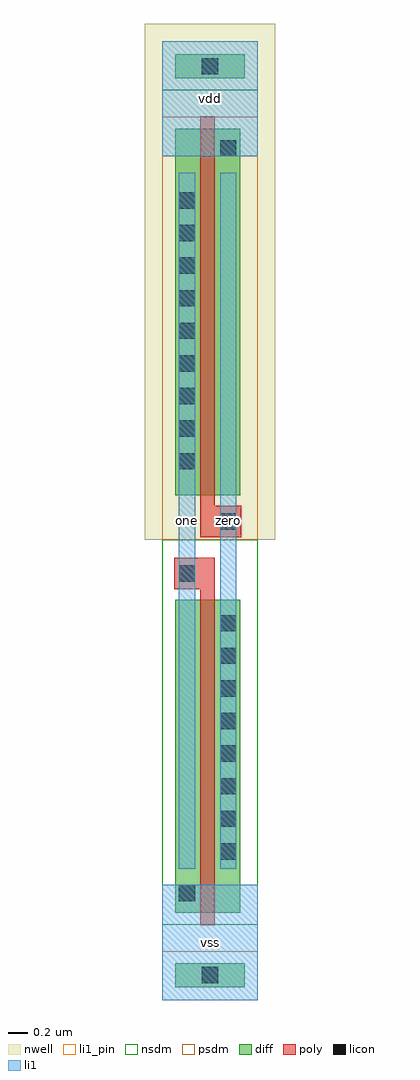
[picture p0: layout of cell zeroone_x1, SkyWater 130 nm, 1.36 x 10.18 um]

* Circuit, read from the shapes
.subckt zeroone_x1 one vdd vss zero
XM1 zero one vss VSUBS sky130_fd_pr__nfet_01v8 w=3.265 l=0.15
XM2 vdd zero one n1 sky130_fd_pr__pfet_01v8 w=3.825 l=0.15
.ends

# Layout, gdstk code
import gdstk
lib = gdstk.Library(unit=1e-6, precision=1e-09)
def R(c, l, rs):  # rectangles x0, y0, x1, y1
    for r in rs: c.add(gdstk.rectangle(r[:2], r[2:], *l))
def A(c, l, x, y, w, h, nx, ny, dx, dy):  # array of equal rectangles
    R(c, l, [(x+i*dx, y+j*dy, x+i*dx+w, y+j*dy+h) for i in range(nx) for j in range(ny)])
def P(c, l, *ps):  # polygons
    for p in ps: c.add(gdstk.Polygon(p, *l))
nwell = (64, 20)
diff = (65, 20)
poly = (66, 20)
licon = (66, 44)
li1_pin = (67, 16)
li1 = (67, 20)
nsdm = (93, 44)
psdm = (94, 20)

zeroone_x1 = lib.new_cell('zeroone_x1')
R(zeroone_x1, nwell, [(-0.18,4.8,1.18,10.18)])
R(zeroone_x1, diff, [(0.135,0.135,0.865,0.385), (0.135,0.91,0.815,4.175), (0.135,5.265,0.815,9.09), (0.135,9.615,0.865,9.865)])
P(zeroone_x1, poly, [(0.4,0.78),(0.4,4.285),(0.125,4.285),(0.125,4.615),(0.55,4.615),(0.55,0.78)],
  [(0.4,4.825),(0.4,9.22),(0.55,9.22),(0.55,5.155),(0.825,5.155),(0.825,4.825)])
A(zeroone_x1, licon, 0.605, 1.465, 0.17, 0.17, 1, 8, 0, 0.34)
A(zeroone_x1, licon, 0.175, 5.535, 0.17, 0.17, 1, 9, 0, 0.34)
R(zeroone_x1, licon, [(0.415,0.175,0.585,0.345), (0.175,1.03,0.345,1.2), (0.175,4.365,0.345,4.535), (0.605,4.905,0.775,5.075), (0.605,8.8,0.775,8.97), (0.415,9.655,0.585,9.825)])
R(zeroone_x1, li1_pin, [(0,0,1,1.2), (0.175,1.37,0.345,8.63), (0.605,1.37,0.775,8.63), (0,8.8,1,10)])
R(zeroone_x1, li1, [(0,0,1,1.2), (0.175,1.37,0.345,8.63), (0.605,1.37,0.775,8.63), (0,8.8,1,10)])
R(zeroone_x1, nsdm, [(0,0.785,1,4.8), (0,9.49,1,10)])
R(zeroone_x1, psdm, [(0,0,1,0.51), (0,4.8,1,9.215)])
zeroone_x1.add(gdstk.Label('vss', (0.5,0.6), layer=67, texttype=16))
zeroone_x1.add(gdstk.Label('one', (0.26,5), layer=67, texttype=16))
zeroone_x1.add(gdstk.Label('vdd', (0.5,9.4), layer=67, texttype=16))
zeroone_x1.add(gdstk.Label('zero', (0.69,5), layer=67, texttype=16))

lib.write_gds('zeroone_x1.gds')
